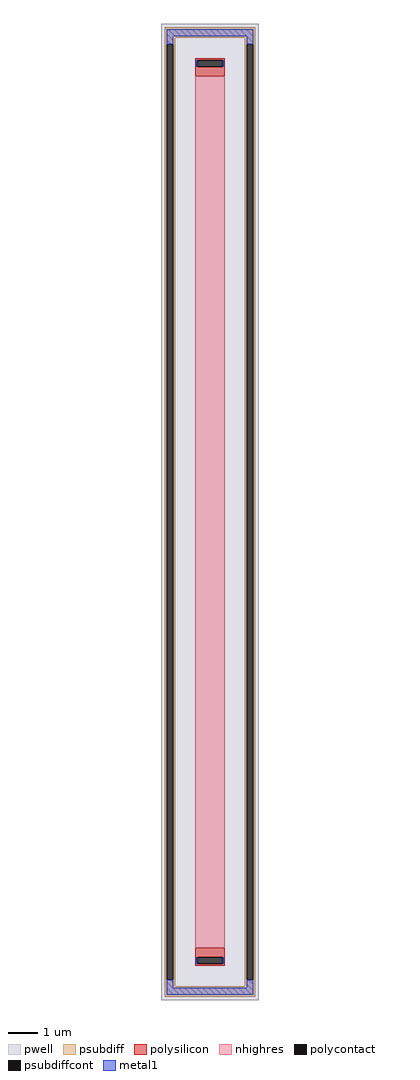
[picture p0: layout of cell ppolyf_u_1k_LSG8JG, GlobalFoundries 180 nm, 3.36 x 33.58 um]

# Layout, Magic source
magic
tech gf180mcuD
magscale 1 10
<< pwell >>
rect -336 -3358 336 3358
<< psubdiff >>
rect -312 3262 312 3334
rect -312 3218 -240 3262
rect -312 -3218 -299 3218
rect -253 -3218 -240 3218
rect 240 3218 312 3262
rect -312 -3262 -240 -3218
rect 240 -3218 253 3218
rect 299 -3218 312 3218
rect 240 -3262 312 -3218
rect -312 -3334 312 -3262
<< psubdiffcont >>
rect -299 -3218 -253 3218
rect 253 -3218 299 3218
<< polysilicon >>
rect -100 3109 100 3122
rect -100 3063 -87 3109
rect 87 3063 100 3109
rect -100 3000 100 3063
rect -100 -3063 100 -3000
rect -100 -3109 -87 -3063
rect 87 -3109 100 -3063
rect -100 -3122 100 -3109
<< polycontact >>
rect -87 3063 87 3109
rect -87 -3109 87 -3063
<< nhighres >>
rect -100 -3000 100 3000
<< metal1 >>
rect -299 3275 299 3321
rect -299 3218 -253 3275
rect 253 3218 299 3275
rect -98 3063 -87 3109
rect 87 3063 98 3109
rect -98 -3109 -87 -3063
rect 87 -3109 98 -3063
rect -299 -3275 -253 -3218
rect 253 -3275 299 -3218
rect -299 -3321 299 -3275
<< properties >>
string FIXED_BBOX -276 -3298 276 3298
string gencell ppolyf_u_1k
string library gf180mcu
string parameters w 1.0 l 30.0 m 1 nx 1 wmin 1.000 lmin 1.000 class resistor rho 1000 val 30.915k dummy 0 dw 0.0296 term 0.0 sterm 0.0 caplen 0.4 snake 0 glc 1 grc 1 gtc 0 gbc 0 roverlap 0 endcov 100 full_metal 1 guard 1 guard_type pwell compatible {ppolyf_u_1k ppolyf_u_1k_6p0}
<< end >>
